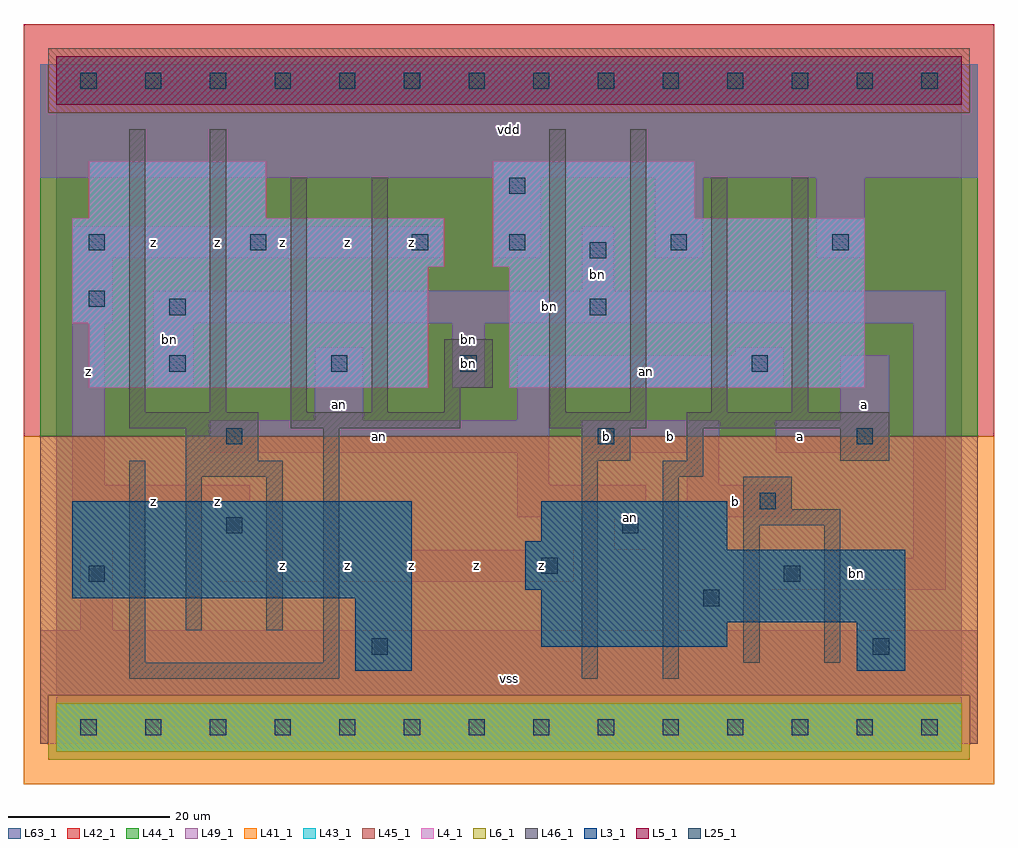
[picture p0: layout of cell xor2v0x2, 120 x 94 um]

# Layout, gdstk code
import gdstk
lib = gdstk.Library(unit=1e-6, precision=1e-09)
def R(c, l, rs):  # rectangles x0, y0, x1, y1
    for r in rs: c.add(gdstk.rectangle(r[:2], r[2:], *l))
def A(c, l, x, y, w, h, nx, ny, dx, dy):  # array of equal rectangles
    R(c, l, [(x+i*dx, y+j*dy, x+i*dx+w, y+j*dy+h) for i in range(nx) for j in range(ny)])
L3_1 = (3, 1)
L4_1 = (4, 1)
L5_1 = (5, 1)
L6_1 = (6, 1)
L25_1 = (25, 1)
L41_1 = (41, 1)
L42_1 = (42, 1)
L43_1 = (43, 1)
L44_1 = (44, 1)
L45_1 = (45, 1)
L46_1 = (46, 1)
L49_1 = (49, 1)
L63_1 = (63, 1)

xor2v0x2 = lib.new_cell('xor2v0x2')
R(xor2v0x2, L3_1, [(37,7,44,16), (99,7,105,13), (60,10,83,13), (60,13,105,17), (2,16,44,28), (58,17,105,22), (58,22,83,23), (60,23,83,28)])
R(xor2v0x2, L4_1, [(4,42,46,50), (56,42,100,57), (2,50,46,57), (2,57,48,63), (54,57,100,63), (4,63,26,70), (54,63,79,70)])
R(xor2v0x2, L5_1, [(0,77,112,83)])
R(xor2v0x2, L6_1, [(0,-3,112,3), (0,-3,112,3)])
A(xor2v0x2, L25_1, 3, -1, 2, 2, 14, 2, 8, 80)
A(xor2v0x2, L25_1, 4, 59, 2, 2, 3, 1, 20, 0)
A(xor2v0x2, L25_1, 56, 59, 2, 2, 3, 1, 20, 0)
R(xor2v0x2, L25_1, [(39,9,41,11), (101,9,103,11), (80,15,82,17), (4,18,6,20), (90,18,92,20), (60,19,62,21), (21,24,23,26), (70,24,72,26), (87,27,89,29), (21,35,23,37), (67,35,69,37), (99,35,101,37), (14,44,16,46), (34,44,36,46), (50,44,52,46), (86,44,88,46), (14,51,16,53), (66,51,68,53), (4,52,6,54), (66,58,68,60), (56,66,58,68)])
R(xor2v0x2, L41_1, [(-4,-7,116,36)])
R(xor2v0x2, L42_1, [(-4,36,116,87)])
R(xor2v0x2, L43_1, [(0,-3,112,3), (37,7,44,16), (99,7,105,13), (60,10,83,13), (60,13,105,17), (2,16,44,28), (58,17,105,22), (58,22,83,23), (60,23,83,28), (4,42,46,50), (56,42,100,57), (2,50,46,57), (2,57,48,63), (54,57,100,63), (4,63,26,70), (54,63,79,70), (0,77,112,83)])
R(xor2v0x2, L44_1, [(-1,-4,113,4), (-2,36,114,76), (-2,76,-1,82), (113,76,114,82)])
R(xor2v0x2, L45_1, [(-2,-2,-1,4), (113,-2,114,4), (-2,4,114,36), (-1,76,113,84)])
R(xor2v0x2, L46_1, [(9,6,35,8), (65,6,67,33), (75,6,77,31), (9,8,11,33), (33,8,35,37), (85,8,87,25), (95,8,97,25), (16,12,18,31), (26,12,28,31), (85,25,97,27), (85,27,91,31), (16,31,28,33), (75,31,80,33), (16,33,25,37), (65,33,71,37), (78,33,80,37), (97,33,103,37), (9,37,25,39), (29,37,50,39), (61,37,73,39), (78,37,103,39), (9,39,11,74), (19,39,21,74), (29,39,31,68), (39,39,41,68), (48,39,50,42), (61,39,63,74), (71,39,73,74), (81,39,83,68), (91,39,93,68), (48,42,54,48)])
A(xor2v0x2, L49_1, 54, 58, 6, 10, 3, 1, 20, 0)
R(xor2v0x2, L49_1, [(-2,-2,114,12), (3,12,7,22), (79,12,83,19), (88,17,110,21), (20,18,64,22), (106,21,110,50), (20,22,24,26), (69,22,73,26), (2,26,24,30), (57,26,73,30), (78,26,91,30), (2,30,6,50), (57,30,61,34), (78,30,82,34), (19,34,61,38), (65,34,82,38), (89,34,103,38), (32,38,38,47), (57,38,61,42), (97,38,103,46), (12,42,17,50), (49,42,53,50), (57,42,90,46), (84,46,90,47), (2,50,7,58), (12,50,110,54), (65,54,69,62), (2,58,48,62), (-2,68,114,82)])
R(xor2v0x2, L63_1, [(0,0,112,80)])
xor2v0x2.add(gdstk.Label('bn', (51,45), layer=49, texttype=1))
xor2v0x2.add(gdstk.Label('z', (12,28), layer=49, texttype=1))
xor2v0x2.add(gdstk.Label('z', (4,44), layer=49, texttype=1))
xor2v0x2.add(gdstk.Label('bn', (14,48), layer=49, texttype=1))
xor2v0x2.add(gdstk.Label('z', (12,60), layer=49, texttype=1))
xor2v0x2.add(gdstk.Label('z', (20,28), layer=49, texttype=1))
xor2v0x2.add(gdstk.Label('z', (36,20), layer=49, texttype=1))
xor2v0x2.add(gdstk.Label('z', (28,20), layer=49, texttype=1))
xor2v0x2.add(gdstk.Label('an', (35,40), layer=49, texttype=1))
xor2v0x2.add(gdstk.Label('z', (20,60), layer=49, texttype=1))
xor2v0x2.add(gdstk.Label('z', (36,60), layer=49, texttype=1))
xor2v0x2.add(gdstk.Label('z', (28,60), layer=49, texttype=1))
xor2v0x2.add(gdstk.Label('vss', (56,6), layer=49, texttype=1))
xor2v0x2.add(gdstk.Label('z', (44,20), layer=49, texttype=1))
xor2v0x2.add(gdstk.Label('z', (60,20), layer=49, texttype=1))
xor2v0x2.add(gdstk.Label('z', (52,20), layer=49, texttype=1))
xor2v0x2.add(gdstk.Label('an', (40,36), layer=49, texttype=1))
xor2v0x2.add(gdstk.Label('bn', (51,48), layer=49, texttype=1))
xor2v0x2.add(gdstk.Label('z', (44,60), layer=49, texttype=1))
xor2v0x2.add(gdstk.Label('vdd', (56,74), layer=49, texttype=1))
xor2v0x2.add(gdstk.Label('an', (71,26), layer=49, texttype=1))
xor2v0x2.add(gdstk.Label('b', (84,28), layer=49, texttype=1))
xor2v0x2.add(gdstk.Label('b', (68,36), layer=49, texttype=1))
xor2v0x2.add(gdstk.Label('an', (73,44), layer=49, texttype=1))
xor2v0x2.add(gdstk.Label('b', (76,36), layer=49, texttype=1))
xor2v0x2.add(gdstk.Label('bn', (67,56), layer=49, texttype=1))
xor2v0x2.add(gdstk.Label('bn', (99,19), layer=49, texttype=1))
xor2v0x2.add(gdstk.Label('a', (92,36), layer=49, texttype=1))
xor2v0x2.add(gdstk.Label('a', (100,40), layer=49, texttype=1))
xor2v0x2.add(gdstk.Label('bn', (61,52), layer=49, texttype=1))

lib.write_gds('xor2v0x2.gds')
